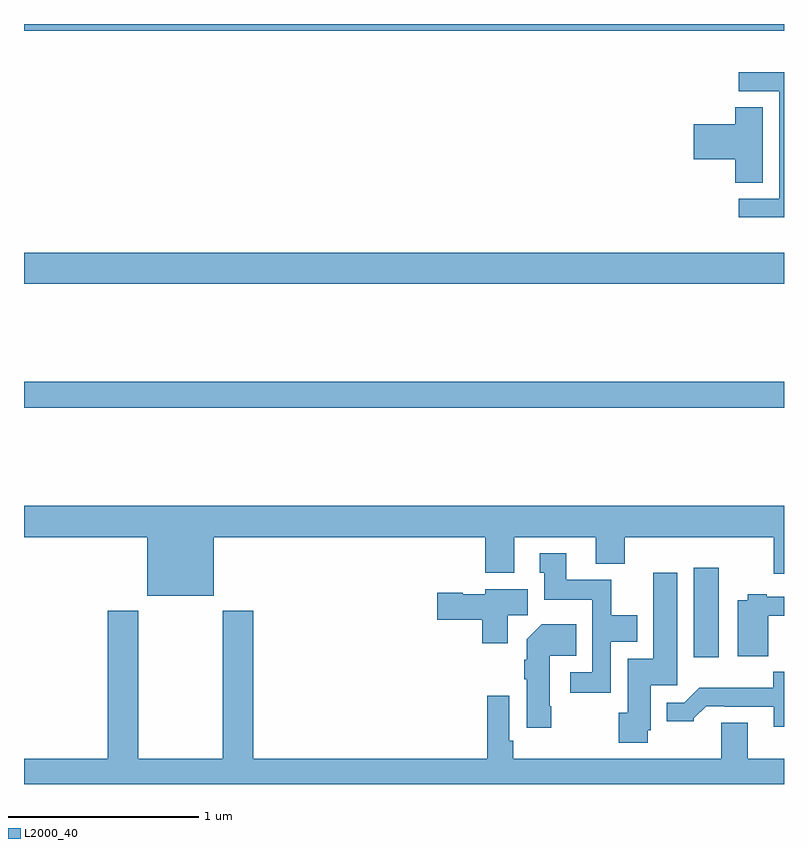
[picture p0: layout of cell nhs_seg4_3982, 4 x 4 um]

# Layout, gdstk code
import gdstk
lib = gdstk.Library(unit=1e-6, precision=1e-09)
def R(c, l, rs):  # rectangles x0, y0, x1, y1
    for r in rs: c.add(gdstk.rectangle(r[:2], r[2:], *l))
def P(c, l, *ps):  # polygons
    for p in ps: c.add(gdstk.Polygon(p, *l))
L2000_40 = (2000, 40)

nhs_seg4_3982 = lib.new_cell('nhs_seg4_3982')
R(nhs_seg4_3982, L2000_40, [(326.525,749.568,326.656,750.037), (323,750.88,327,751.016), (323,751.532,327,751.696), (323,752.864,327,752.9)])
P(nhs_seg4_3982, L2000_40, [(327,752.646),(326.763,752.646),(326.763,752.547),(326.976,752.547),(326.976,751.98),(326.763,751.98),(326.763,751.884),(327,751.884)],
  [(326.887,752.462),(326.744,752.462),(326.744,752.372),(326.526,752.372),(326.526,752.189),(326.744,752.189),(326.744,752.065),(326.887,752.065)],
  [(323.998,750.2),(325.427,750.2),(325.427,750.011),(325.579,750.011),(325.579,750.2),(326.009,750.2),(326.009,750.059),(326.162,750.059),(326.162,750.2),(326.945,750.2),(326.945,750.006),(327,750.006),(327,750.364),(323,750.364),(323,750.2),(323.648,750.2),(323.648,749.891),(323.998,749.891)],
  [(326.088,749.648),(326.227,749.648),(326.227,749.788),(326.091,749.788),(326.091,749.974),(325.855,749.974),(325.855,750.115),(325.715,750.115),(325.715,750.012),(325.739,750.012),(325.739,749.87),(325.992,749.87),(325.992,749.487),(325.875,749.487),(325.875,749.379),(326.088,749.379)],
  [(326.283,749.184),(326.299,749.184),(326.299,749.421),(326.437,749.421),(326.437,750.013),(326.312,750.013),(326.312,749.56),(326.177,749.56),(326.177,749.274),(326.131,749.274),(326.131,749.118),(326.283,749.118)],
  [(325.546,749.788),(325.651,749.788),(325.651,749.926),(325.428,749.926),(325.428,749.899),(325.308,749.899),(325.308,749.907),(325.176,749.907),(325.176,749.765),(325.412,749.765),(325.412,749.64),(325.546,749.64)],
  [(326.918,749.785),(327,749.785),(327,749.886),(326.908,749.886),(326.908,749.899),(326.808,749.899),(326.808,749.866),(326.756,749.866),(326.756,749.573),(326.918,749.573)],
  [(327,749.032),(326.809,749.032),(326.809,749.222),(326.669,749.222),(326.669,749.032),(325.574,749.032),(325.574,749.128),(325.554,749.128),(325.554,749.365),(325.438,749.365),(325.438,749.032),(324.206,749.032),(324.206,749.812),(324.046,749.812),(324.046,749.032),(323.601,749.032),(323.601,749.812),(323.441,749.812),(323.441,749.032),(323,749.032),(323,748.9),(327,748.9)],
  [(325.776,749.308),(325.768,749.308),(325.768,749.576),(325.907,749.576),(325.907,749.74),(325.724,749.74),(325.646,749.662),(325.646,749.555),(325.634,749.555),(325.634,749.452),(325.646,749.452),(325.646,749.196),(325.776,749.196)],
  [(327,749.491),(326.943,749.491),(326.943,749.407),(326.554,749.407),(326.475,749.328),(326.384,749.328),(326.384,749.231),(326.526,749.231),(326.526,749.246),(326.59,749.31),(326.689,749.31),(326.689,749.307),(326.945,749.307),(326.945,749.202),(327,749.202)])

lib.write_gds('nhs_seg4_3982.gds')
